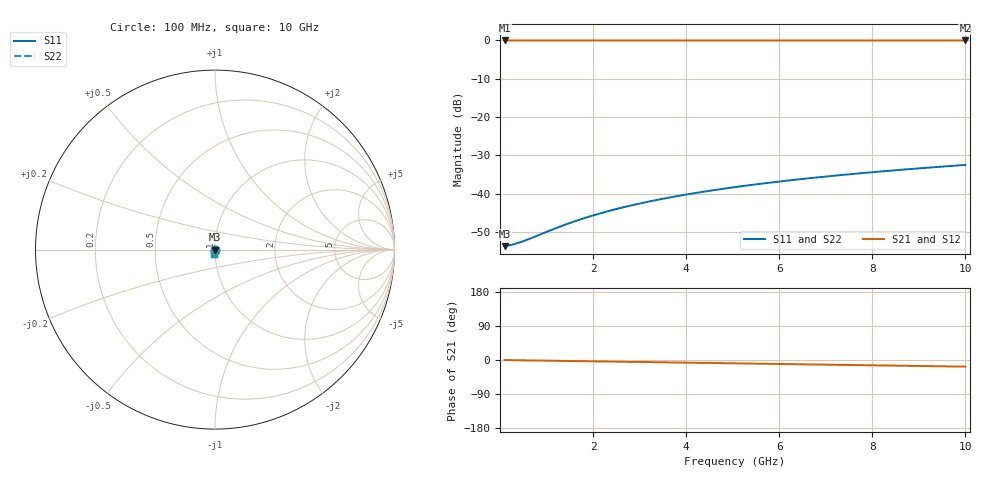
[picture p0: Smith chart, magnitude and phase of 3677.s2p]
# Hz S RI R 50.00
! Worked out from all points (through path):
!   100 points, 100 MHz to 10 GHz, reference 50 ohm
!   highest |S21| = -0.02 dB at 100 MHz (marker M1); lowest = 0.0 dB at 10 GHz (marker M2)
!   group delay of S21, straight-line fit = 4.86 ps
!   lowest |S11| = -53.7 dB at 100 MHz (marker M3), VSWR 1.00, Z = 50.2 - j0.0245 ohm
!   |S11| at or under -10 dB: start of sweep to end of sweep
!   |S22| runs from -53.7 to -32.5 dB; largest |S21 - S12| = 0
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1e8  0.00206 -0.000244  0.9979 -0.00304  0.9979 -0.00304  0.00206 -0.000244
2e8  0.00207 -0.000488  0.9979 -0.00608  0.9979 -0.00608  0.00207 -0.000488
3e8  0.00207 -0.000732  0.9979 -0.00912  0.9979 -0.00912  0.00207 -0.000732
4e8  0.00207 -0.000976  0.9978 -0.0122  0.9978 -0.0122  0.00207 -0.000976
5e8  0.00207 -0.00122  0.9978 -0.0152  0.9978 -0.0152  0.00207 -0.00122
1.3e9  0.00199 -0.00317  0.9971 -0.0395  0.9971 -0.0395  0.00199 -0.00317
1.5e9  0.00196 -0.00366  0.9968 -0.0456  0.9968 -0.0456  0.00196 -0.00366
1.8e9  0.00189 -0.00439  0.9963 -0.0547  0.9963 -0.0547  0.00189 -0.00439
2.1e9  0.00181 -0.00512  0.9957 -0.0638  0.9957 -0.0638  0.00181 -0.00512
2.5e9  0.00168 -0.00609  0.9949 -0.076  0.9949 -0.076  0.00168 -0.00609
2.9e9  0.00152 -0.00706  0.9938 -0.0881  0.9938 -0.0881  0.00152 -0.00706
3.4e9  0.0013 -0.00826  0.9924 -0.1033  0.9924 -0.1033  0.0013 -0.00826
3.8e9  0.00109 -0.00922  0.991 -0.1154  0.991 -0.1154  0.00109 -0.00922
4.2e9  0.000857 -0.0102  0.9895 -0.1275  0.9895 -0.1275  0.000857 -0.0102
4.6e9  0.000602 -0.0111  0.9878 -0.1395  0.9878 -0.1395  0.000602 -0.0111
5.1e9  0.000251 -0.0123  0.9855 -0.1546  0.9855 -0.1546  0.000251 -0.0123
5.9e9  -0.000385 -0.0142  0.9814 -0.1786  0.9814 -0.1786  -0.000385 -0.0142
6.7e9  -0.00111 -0.016  0.9767 -0.2026  0.9767 -0.2026  -0.00111 -0.016
7.5e9  -0.00193 -0.0178  0.9714 -0.2264  0.9714 -0.2264  -0.00193 -0.0178
8.4e9  -0.00295 -0.0198  0.9647 -0.2531  0.9647 -0.2531  -0.00295 -0.0198
9.2e9  -0.00395 -0.0215  0.9581 -0.2766  0.9581 -0.2766  -0.00395 -0.0215
1e10  -0.00504 -0.0232  0.951 -0.3  0.951 -0.3  -0.00504 -0.0232
